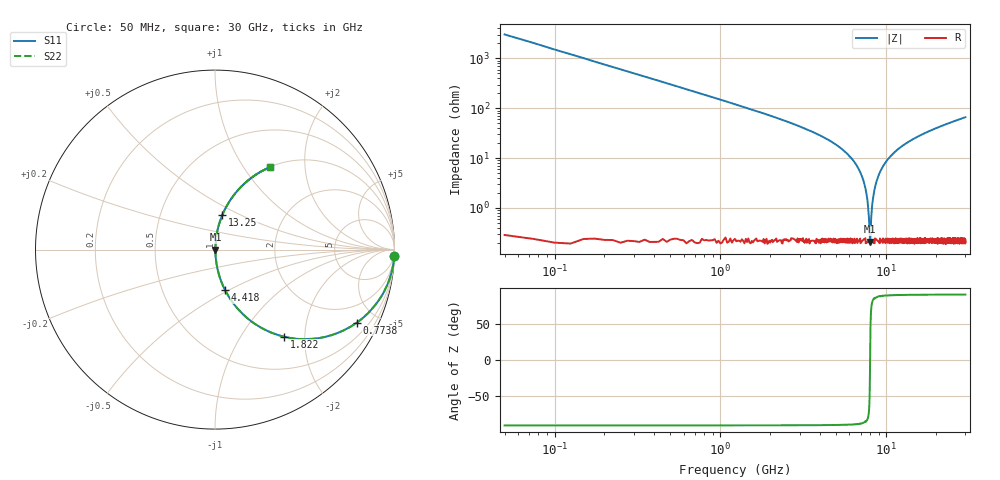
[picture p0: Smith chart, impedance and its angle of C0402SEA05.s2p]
!	AVX Thin Film Operation 	Date: April 2014
!	Description: Accu-P® Series, Thin Film  SMD RF Capacitor
!	Part Number: 04021JA05ZBSTR
# MHZ S MA R 50
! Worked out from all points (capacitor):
!   1201 points, 50 MHz to 30 GHz, reference 50 ohm
!   read as one part in series: C = 1.05 pF near 199.8 MHz
!   lowest |Z| = 211 mohm at 7.987 GHz (marker M1)
!   series resonance near 7.989 GHz, so ESL is about 380 pH
!   S11 on the Smith chart (normalised r, x): 50 MHz: 2, -61; 773.8 MHz: 1.01, -3.88; 1.822 GHz: 1.01, -1.58; 4.418 GHz: 1.00, -0.48; 13.25 GHz: 1.00, +0.40; 30 GHz: 1.00, +1.32
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50  0.999 -1.9  0.033 88.1  0.033 88.1  0.999 -1.9
349.5  0.974 -13.0  0.225 77.0  0.225 77.0  0.974 -13.0
773.792  0.888 -27.2  0.458 62.7  0.458 62.7  0.888 -27.2
1822.042  0.618 -51.6  0.784 38.2  0.784 38.2  0.618 -51.6
2895.25  0.413 -65.3  0.909 24.4  0.909 24.4  0.413 -65.3
4417.708  0.231 -76.1  0.971 13.4  0.971 13.4  0.231 -76.1
5041.667  0.178 -79.1  0.982 10.2  0.982 10.2  0.178 -79.1
6364.458  0.087 -83.6  0.994 5.0  0.994 5.0  0.087 -83.6
7163.125  0.041 -84.6  0.997 2.4  0.997 2.4  0.041 -84.6
7587.417  0.02 -82.4  0.998 1.1  0.998 1.1  0.02 -82.4
7886.917  0.005335 -65.3  0.998 0.3  0.998 0.3  0.005335 -65.3
7986.75  0.002208 -2.5  0.998 0.0  0.998 0.0  0.002208 -2.5
8086.583  0.005109 64.2  0.998 -0.3  0.998 -0.3  0.005109 64.2
8336.167  0.016 81.3  0.998 -0.9  0.998 -0.9  0.016 81.3
8660.625  0.031 84.1  0.997 -1.8  0.997 -1.8  0.031 84.1
9184.75  0.053 84.6  0.996 -3.0  0.996 -3.0  0.053 84.6
10058.29  0.088 83.5  0.994 -5.0  0.994 -5.0  0.088 83.5
13252.96  0.196 78.1  0.978 -11.3  0.978 -11.3  0.196 78.1
15025  0.247 75.2  0.967 -14.3  0.967 -14.3  0.247 75.2
20016.67  0.37 67.9  0.927 -21.7  0.927 -21.7  0.37 67.9
25033.29  0.47 61.7  0.881 -28.1  0.881 -28.1  0.47 61.7
30000  0.551 56.4  0.833 -33.4  0.833 -33.4  0.551 56.4
